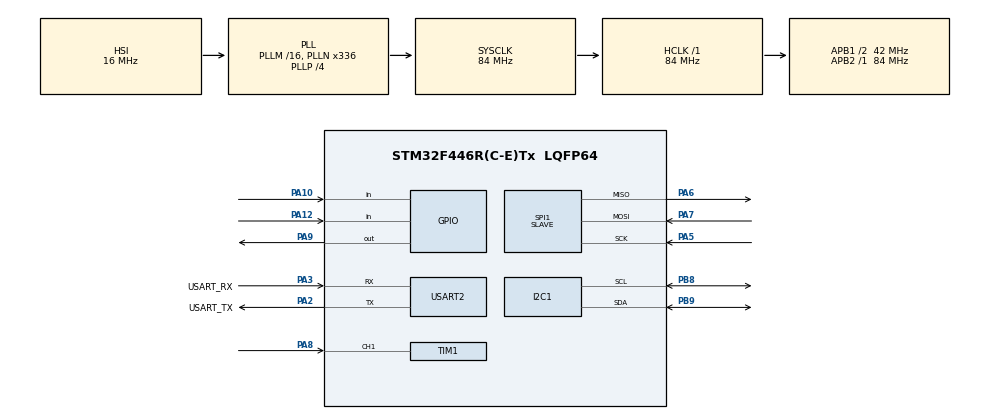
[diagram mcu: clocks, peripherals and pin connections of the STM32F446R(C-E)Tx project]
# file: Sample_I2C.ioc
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FREERTOS.Mutexes01=i2cmutex,Dynamic,NULL;spiMutex,Dynamic,NULL
FREERTOS.Tasks01=defaultTask,0,128,StartDefaultTask,Default,NULL,Dynamic,NULL,NULL;IR_Task,2,128,IRTask_Start,Default,NULL,Dynamic,NULL,NULL;spiInteractionT,0,128,spiInteractionTaskStart,Default,NULL,Dynamic,NULL,NULL
I2C1.OwnAddress=0x48
Mcu.Family=STM32F4
Mcu.Name=STM32F446R(C-E)Tx
Mcu.Package=LQFP64
NVIC.I2C1_ER_IRQn=true\:5\:0\:false\:false\:true\:true\:true\:true\:true
NVIC.I2C1_EV_IRQn=true\:5\:0\:false\:false\:true\:true\:true\:true\:true
NVIC.PriorityGroup=NVIC_PRIORITYGROUP_4
NVIC.SPI1_IRQn=true\:5\:0\:false\:false\:true\:true\:true\:true\:true
NVIC.TIM1_CC_IRQn=true\:5\:0\:false\:false\:true\:true\:true\:true\:true
NVIC.TIM2_IRQn=true\:15\:0\:false\:false\:true\:false\:false\:true\:true
NVIC.TimeBase=TIM2_IRQn
NVIC.TimeBaseIP=TIM2
PA10.Signal=GPIO_Input
PA12.Signal=GPIO_Input
PA13.GPIO_Label=TMS
PA13.Mode=Serial_Wire
PA13.Signal=SYS_JTMS-SWDIO
PA14.GPIO_Label=TCK
PA14.Mode=Serial_Wire
PA14.Signal=SYS_JTCK-SWCLK
PA2.GPIO_Label=USART_TX
PA2.Mode=Asynchronous
PA2.Signal=USART2_TX
PA3.GPIO_Label=USART_RX
PA3.Mode=Asynchronous
PA3.Signal=USART2_RX
PA5.Mode=Full_Duplex_Slave
PA5.Signal=SPI1_SCK
PA6.Mode=Full_Duplex_Slave
PA6.Signal=SPI1_MISO
PA7.Mode=Full_Duplex_Slave
PA7.Signal=SPI1_MOSI
PA8.Signal=S_TIM1_CH1
PA9.Signal=GPIO_Output
PB3.GPIO_Label=SWO
PB3.Signal=SYS_JTDO-SWO
PB8.Mode=I2C
PB8.Signal=I2C1_SCL
PB9.Mode=I2C
PB9.Signal=I2C1_SDA
PC14-OSC32_IN.Mode=LSE-External-Oscillator
PC14-OSC32_IN.Signal=RCC_OSC32_IN
PC15-OSC32_OUT.Mode=LSE-External-Oscillator
PC15-OSC32_OUT.Signal=RCC_OSC32_OUT
PH0-OSC_IN.Mode=HSE-External-Oscillator
PH0-OSC_IN.Signal=RCC_OSC_IN
PH1-OSC_OUT.Mode=HSE-External-Oscillator
PH1-OSC_OUT.Signal=RCC_OSC_OUT
ProjectManager.HeapSize=0x200
ProjectManager.StackSize=0x400
ProjectManager.TargetToolchain=STM32CubeIDE
RCC.AHBFreq_Value=84000000
RCC.APB1CLKDivider=RCC_HCLK_DIV2
RCC.APB1Freq_Value=42000000
RCC.APB1TimFreq_Value=84000000
RCC.APB2Freq_Value=84000000
RCC.APB2TimFreq_Value=84000000
RCC.CortexFreq_Value=84000000
RCC.FLatency-AdvancedSettings=FLASH_LATENCY_2
RCC.HCLKFreq_Value=84000000
RCC.HSE_VALUE=8000000
RCC.HSI_VALUE=16000000
RCC.PLLN=336
RCC.PLLP=RCC_PLLP_DIV4
RCC.SYSCLKFreq_VALUE=84000000
RCC.SYSCLKSource=RCC_SYSCLKSOURCE_PLLCLK
RCC.USBFreq_Value=168000000
RCC.VCOOutputFreq_Value=336000000
SH.S_TIM1_CH1.0=TIM1_CH1,Input_Capture1_from_TI1
SPI1.Direction=SPI_DIRECTION_2LINES
SPI1.Mode=SPI_MODE_SLAVE
SPI1.VirtualType=VM_SLAVE
TIM1.Channel-Input_Capture1_from_TI1=TIM_CHANNEL_1
TIM1.Prescaler=84-1
USART2.VirtualMode=VM_ASYNC
VP_FREERTOS_VS_CMSIS_V1.Mode=CMSIS_V1
VP_SYS_VS_tim2.Mode=TIM2
board=NUCLEO-F446RE

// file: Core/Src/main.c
/* USER CODE BEGIN Header */
/**
  ******************************************************************************
  * @file           : main.c
  * @brief          : Main program body
  ******************************************************************************
  * @attention
  *
  * Copyright (c) 2023 STMicroelectronics.
  * All rights reserved.
  *
  * This software is licensed under terms that can be found in the LICENSE file
  * in the root directory of this software component.
  * If no LICENSE file comes with this software, it is provided AS-IS.
  *
  ******************************************************************************
  */
/* USER CODE END Header */
#include "main.h"
#include "cmsis_os.h"

I2C_HandleTypeDef hi2c1;

SPI_HandleTypeDef hspi1;

TIM_HandleTypeDef htim1;

UART_HandleTypeDef huart2;

osThreadId defaultTaskHandle;
osThreadId IR_TaskHandle;
osThreadId spiInteractionTHandle;
osMutexId i2cmutexHandle;
osMutexId spiMutexHandle;
/* USER CODE BEGIN PV */
uint8_t toggle=0;
uint8_t rx_buf[1];
uint8_t success=0;
//uint8_t tx_buf = 0xFE;
uint8_t tx_buf[2] = {0,0};
uint8_t test_msg=0; //Used for debugging purposes

HAL_StatusTypeDef g_ret = 0x0;
/* USER CODE END PV */

void SystemClock_Config(void);
static void MX_GPIO_Init(void);
static void MX_I2C1_Init(void);
static void MX_USART2_UART_Init(void);
static void MX_TIM1_Init(void);
static void MX_SPI1_Init(void);
void StartDefaultTask(void const * argument);
void IRTask_Start(void const * argument);
void spiInteractionTaskStart(void const * argument);

/* USER CODE BEGIN PFP */
void resetSPI(SPI_HandleTypeDef* ht_spi) {
	HAL_SPI_DeInit(ht_spi);
	HAL_SPI_Init(ht_spi);
}

uint8_t create_message(uint8_t val,uint8_t addr) {
    val|=(addr<<4);
    return val;
}
/* USER CODE END PFP */

int main(void)
{

  /* MCU Configuration--------------------------------------------------------*/

  /* Reset of all peripherals, Initializes the Flash interface and the Systick. */
  HAL_Init();

  /* Configure the system clock */
  SystemClock_Config();

  /* Initialize all configured peripherals */
  MX_GPIO_Init();
  MX_I2C1_Init();
  MX_USART2_UART_Init();
  MX_TIM1_Init();
  MX_SPI1_Init();

  /* Create the mutex(es) */
  /* definition and creation of i2cmutex */
  osMutexDef(i2cmutex);
  i2cmutexHandle = osMutexCreate(osMutex(i2cmutex));

  /* definition and creation of spiMutex */
  osMutexDef(spiMutex);
  spiMutexHandle = osMutexCreate(osMutex(spiMutex));

  /* Create the thread(s) */
  /* definition and creation of defaultTask */
  osThreadDef(defaultTask, StartDefaultTask, osPriorityNormal, 0, 128);
  defaultTaskHandle = osThreadCreate(osThread(defaultTask), NULL);

  /* definition and creation of IR_Task */
  osThreadDef(IR_Task, IRTask_Start, osPriorityHigh, 0, 128);
  IR_TaskHandle = osThreadCreate(osThread(IR_Task), NULL);

  /* definition and creation of spiInteractionT */
  osThreadDef(spiInteractionT, spiInteractionTaskStart, osPriorityNormal, 0, 128);
  spiInteractionTHandle = osThreadCreate(osThread(spiInteractionT), NULL);

  /* Start scheduler */
  osKernelStart();
  /* We should never get here as control is now taken by the scheduler */
  /* Infinite loop */
  while (1)
  {

  }
}

void SystemClock_Config(void)
{
  RCC_OscInitTypeDef RCC_OscInitStruct = {0};
  RCC_ClkInitTypeDef RCC_ClkInitStruct = {0};

  /** Configure the main internal regulator output voltage
  */
  __HAL_RCC_PWR_CLK_ENABLE();
  __HAL_PWR_VOLTAGESCALING_CONFIG(PWR_REGULATOR_VOLTAGE_SCALE3);

  /** Initializes the RCC Oscillators according to the specified parameters
  * in the RCC_OscInitTypeDef structure.
  */
  RCC_OscInitStruct.OscillatorType = RCC_OSCILLATORTYPE_HSI;
  RCC_OscInitStruct.HSIState = RCC_HSI_ON;
  RCC_OscInitStruct.HSICalibrationValue = RCC_HSICALIBRATION_DEFAULT;
  RCC_OscInitStruct.PLL.PLLState = RCC_PLL_ON;
  RCC_OscInitStruct.PLL.PLLSource = RCC_PLLSOURCE_HSI;
  RCC_OscInitStruct.PLL.PLLM = 16;
  RCC_OscInitStruct.PLL.PLLN = 336;
  RCC_OscInitStruct.PLL.PLLP = RCC_PLLP_DIV4;
  RCC_OscInitStruct.PLL.PLLQ = 2;
  RCC_OscInitStruct.PLL.PLLR = 2;
  if (HAL_RCC_OscConfig(&RCC_OscInitStruct) != HAL_OK)
  {
    Error_Handler();
  }

  /** Initializes the CPU, AHB and APB buses clocks
  */
  RCC_ClkInitStruct.ClockType = RCC_CLOCKTYPE_HCLK|RCC_CLOCKTYPE_SYSCLK
                              |RCC_CLOCKTYPE_PCLK1|RCC_CLOCKTYPE_PCLK2;
  RCC_ClkInitStruct.SYSCLKSource = RCC_SYSCLKSOURCE_PLLCLK;
  RCC_ClkInitStruct.AHBCLKDivider = RCC_SYSCLK_DIV1;
  RCC_ClkInitStruct.APB1CLKDivider = RCC_HCLK_DIV2;
  RCC_ClkInitStruct.APB2CLKDivider = RCC_HCLK_DIV1;

  if (HAL_RCC_ClockConfig(&RCC_ClkInitStruct, FLASH_LATENCY_2) != HAL_OK)
  {
    Error_Handler();
  }
}

static void MX_I2C1_Init(void)
{

  hi2c1.Instance = I2C1;
  hi2c1.Init.ClockSpeed = 100000;
  hi2c1.Init.DutyCycle = I2C_DUTYCYCLE_2;
  hi2c1.Init.OwnAddress1 = 144;
  hi2c1.Init.AddressingMode = I2C_ADDRESSINGMODE_7BIT;
  hi2c1.Init.DualAddressMode = I2C_DUALADDRESS_DISABLE;
  hi2c1.Init.OwnAddress2 = 0;
  hi2c1.Init.GeneralCallMode = I2C_GENERALCALL_DISABLE;
  hi2c1.Init.NoStretchMode = I2C_NOSTRETCH_DISABLE;
  if (HAL_I2C_Init(&hi2c1) != HAL_OK)
  {
    Error_Handler();
  }

}

static void MX_SPI1_Init(void)
{

  /* SPI1 parameter configuration*/
  hspi1.Instance = SPI1;
  hspi1.Init.Mode = SPI_MODE_SLAVE;
  hspi1.Init.Direction = SPI_DIRECTION_2LINES;
  hspi1.Init.DataSize = SPI_DATASIZE_8BIT;
  hspi1.Init.CLKPolarity = SPI_POLARITY_LOW;
  hspi1.Init.CLKPhase = SPI_PHASE_1EDGE;
  hspi1.Init.NSS = SPI_NSS_SOFT;
  hspi1.Init.FirstBit = SPI_FIRSTBIT_MSB;
  hspi1.Init.TIMode = SPI_TIMODE_DISABLE;
  hspi1.Init.CRCCalculation = SPI_CRCCALCULATION_DISABLE;
  hspi1.Init.CRCPolynomial = 10;
  if (HAL_SPI_Init(&hspi1) != HAL_OK)
  {
    Error_Handler();
  }

}

static void MX_TIM1_Init(void)
{

  TIM_MasterConfigTypeDef sMasterConfig = {0};
  TIM_IC_InitTypeDef sConfigIC = {0};

  htim1.Instance = TIM1;
  htim1.Init.Prescaler = 84-1;
  htim1.Init.CounterMode = TIM_COUNTERMODE_UP;
  htim1.Init.Period = 65535;
  htim1.Init.ClockDivision = TIM_CLOCKDIVISION_DIV1;
  htim1.Init.RepetitionCounter = 0;
  htim1.Init.AutoReloadPreload = TIM_AUTORELOAD_PRELOAD_DISABLE;
  if (HAL_TIM_IC_Init(&htim1) != HAL_OK)
  {
    Error_Handler();
  }
  sMasterConfig.MasterOutputTrigger = TIM_TRGO_RESET;
  sMasterConfig.MasterSlaveMode = TIM_MASTERSLAVEMODE_DISABLE;
  if (HAL_TIMEx_MasterConfigSynchronization(&htim1, &sMasterConfig) != HAL_OK)
  {
    Error_Handler();
  }
  sConfigIC.ICPolarity = TIM_INPUTCHANNELPOLARITY_RISING;
  sConfigIC.ICSelection = TIM_ICSELECTION_DIRECTTI;
  sConfigIC.ICPrescaler = TIM_ICPSC_DIV1;
  sConfigIC.ICFilter = 0;
  if (HAL_TIM_IC_ConfigChannel(&htim1, &sConfigIC, TIM_CHANNEL_1) != HAL_OK)
  {
    Error_Handler();
  }

}

static void MX_USART2_UART_Init(void)
{

  huart2.Instance = USART2;
  huart2.Init.BaudRate = 115200;
  huart2.Init.WordLength = UART_WORDLENGTH_8B;
  huart2.Init.StopBits = UART_STOPBITS_1;
  huart2.Init.Parity = UART_PARITY_NONE;
  huart2.Init.Mode = UART_MODE_TX_RX;
  huart2.Init.HwFlowCtl = UART_HWCONTROL_NONE;
  huart2.Init.OverSampling = UART_OVERSAMPLING_16;
  if (HAL_UART_Init(&huart2) != HAL_OK)
  {
    Error_Handler();
  }

}

static void MX_GPIO_Init(void)
{
  GPIO_InitTypeDef GPIO_InitStruct = {0};

  /* GPIO Ports Clock Enable */
  __HAL_RCC_GPIOC_CLK_ENABLE();
  __HAL_RCC_GPIOH_CLK_ENABLE();
  __HAL_RCC_GPIOA_CLK_ENABLE();
  __HAL_RCC_GPIOB_CLK_ENABLE();

  /*Configure GPIO pin Output Level */
  HAL_GPIO_WritePin(GPIOA, GPIO_PIN_9, GPIO_PIN_RESET);

  /*Configure GPIO pin : PA9 */
  GPIO_InitStruct.Pin = GPIO_PIN_9;
  GPIO_InitStruct.Mode = GPIO_MODE_OUTPUT_PP;
  GPIO_InitStruct.Pull = GPIO_NOPULL;
  GPIO_InitStruct.Speed = GPIO_SPEED_FREQ_LOW;
  HAL_GPIO_Init(GPIOA, &GPIO_InitStruct);

  /*Configure GPIO pins : PA10 PA12 */
  GPIO_InitStruct.Pin = GPIO_PIN_10|GPIO_PIN_12;
  GPIO_InitStruct.Mode = GPIO_MODE_INPUT;
  GPIO_InitStruct.Pull = GPIO_NOPULL;
  HAL_GPIO_Init(GPIOA, &GPIO_InitStruct);

}

void StartDefaultTask(void const * argument)
{
  for(;;)
  {
    osDelay(1);
  }
}

void IRTask_Start(void const * argument)
{
  /* USER CODE BEGIN IRTask_Start */
  /*
   * This task starts the reading of the IR sensor which is connected to
   * the digital input pin PA10. This result is stored in @tx_buf.
   */
	HAL_TIM_IC_Start_IT(&htim1, TIM_CHANNEL_1);
  /* Infinite loop */
  for(;;)
  {

	  if(!HAL_GPIO_ReadPin(GPIOA, GPIO_PIN_10))
	  {
		  tx_buf[0]=1;
		  toggle=1;

	  }
	  else
	  {
		  toggle=0;
		  tx_buf[0]=0;
	  }

	  if(!HAL_GPIO_ReadPin(GPIOA, GPIO_PIN_12))
	  	  {
	  		  tx_buf[1]=1;
	  		  toggle=1;

	  	  }
	  else
	  {
		  toggle=0;
		  tx_buf[1]=0;
	  }
	  vTaskDelay(20);
//    osDelay(20);
  }
  /* USER CODE END IRTask_Start */
}

/* USER CODE BEGIN Header_spiInteractionTaskStart */
/**
* @brief Function implementing the spiInteractionT thread.
* @param argument: Not used
* @retval None
*/
void HAL_SPI_TxCpltCallback(SPI_HandleTypeDef *hspi) {
	success=1;
}
void HAL_SPI_RxCpltCallback(SPI_HandleTypeDef *hspi){

	if (rx_buf[0]==0x03) {
		uint8_t msg[1];

		msg[0] = create_message(tx_buf[0], rx_buf[0]);
		test_msg = msg[0];
		HAL_SPI_Transmit_IT(&hspi1, msg, 1);
		rx_buf[0] = 0;

	}
	else if (rx_buf[0]==0x04) {
		uint8_t msg[1];

			msg[0] = create_message(tx_buf[1], rx_buf[0]);
			test_msg = msg[0];
			HAL_SPI_Transmit_IT(&hspi1, msg, 1);
			rx_buf[0] = 0;
	}
}
/* USER CODE END Header_spiInteractionTaskStart */
void spiInteractionTaskStart(void const * argument)
{
  /* USER CODE BEGIN spiInteractionTaskStart */
  /* Infinite loop */
  for(;;)
  {
	  if((g_ret = HAL_SPI_Receive_IT(&hspi1, rx_buf, 1)!=HAL_OK)) {
		  resetSPI(&hspi1);
	  }
//	  HAL_SPI_Receive_IT(&hspi1, rx_buf, 1);
	  vTaskDelay(20);
//    osDelay(20);
  }
  /* USER CODE END spiInteractionTaskStart */
}

void HAL_TIM_PeriodElapsedCallback(TIM_HandleTypeDef *htim)
{
  if (htim->Instance == TIM2) {
    HAL_IncTick();
  }
}

void Error_Handler(void)
{
  __disable_irq();
  while (1)
  {
  }
}
